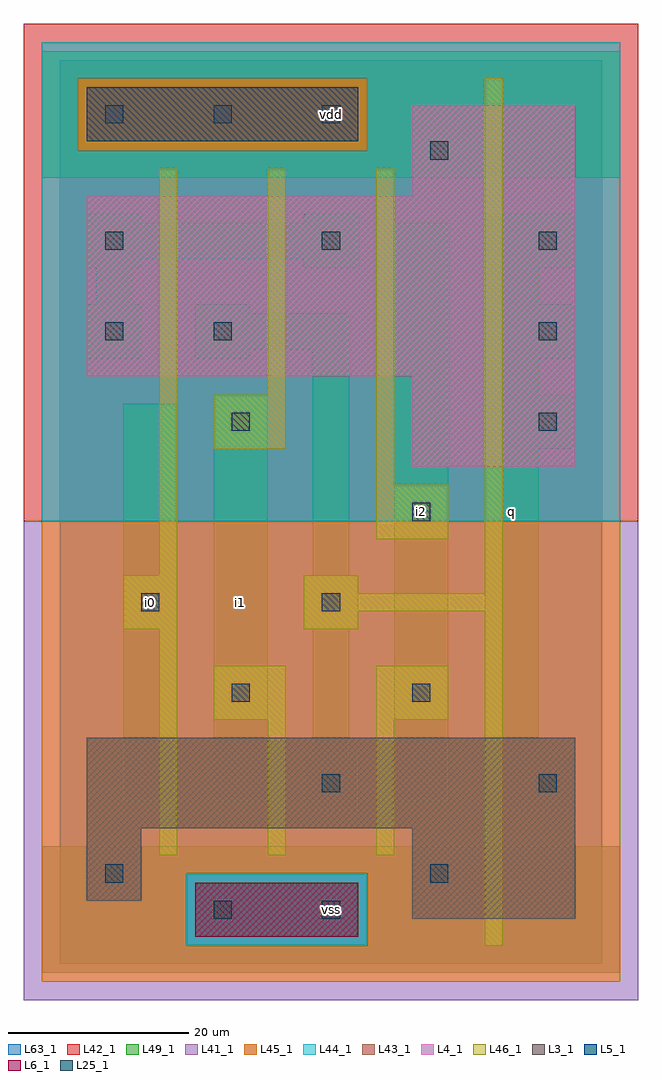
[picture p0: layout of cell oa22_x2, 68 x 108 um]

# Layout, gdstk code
import gdstk
lib = gdstk.Library(unit=1e-6, precision=1e-09)
def R(c, l, rs):  # rectangles x0, y0, x1, y1
    for r in rs: c.add(gdstk.rectangle(r[:2], r[2:], *l))
def A(c, l, x, y, w, h, nx, ny, dx, dy):  # array of equal rectangles
    R(c, l, [(x+i*dx, y+j*dy, x+i*dx+w, y+j*dy+h) for i in range(nx) for j in range(ny)])
L3_1 = (3, 1)
L4_1 = (4, 1)
L5_1 = (5, 1)
L6_1 = (6, 1)
L25_1 = (25, 1)
L41_1 = (41, 1)
L42_1 = (42, 1)
L43_1 = (43, 1)
L44_1 = (44, 1)
L45_1 = (45, 1)
L46_1 = (46, 1)
L49_1 = (49, 1)
L63_1 = (63, 1)

oa22_x2 = lib.new_cell('oa22_x2')
R(oa22_x2, L3_1, [(39,5,57,15), (3,7,9,15), (3,15,57,25)])
R(oa22_x2, L4_1, [(39,55,57,65), (3,65,57,85), (39,85,57,95)])
R(oa22_x2, L5_1, [(3,91,33,97)])
R(oa22_x2, L6_1, [(15,3,33,9)])
A(oa22_x2, L25_1, 5, 79, 2, 2, 3, 1, 24, 0)
A(oa22_x2, L25_1, 5, 93, 2, 2, 3, 1, 12, 0)
R(oa22_x2, L25_1, [(17,5,19,7), (29,5,31,7), (5,9,7,11), (41,9,43,11), (29,19,31,21), (53,19,55,21), (19,29,21,31), (39,29,41,31), (9,39,11,41), (29,39,31,41), (39,49,41,51), (19,59,21,61), (53,59,55,61), (5,69,7,71), (17,69,19,71), (53,69,55,71), (41,89,43,91)])
R(oa22_x2, L41_1, [(-4,-4,64,49)])
R(oa22_x2, L42_1, [(-4,49,64,104)])
R(oa22_x2, L43_1, [(15,3,33,9), (39,5,57,15), (3,7,9,15), (3,15,57,25), (39,55,57,65), (3,65,57,85), (39,85,57,95), (3,91,33,97)])
R(oa22_x2, L44_1, [(14,2,34,10), (-2,49,62,90), (-2,90,2,98), (34,90,62,98), (-2,98,62,102)])
R(oa22_x2, L45_1, [(-2,-2,62,2), (-2,2,14,10), (34,2,62,10), (-2,10,62,49), (2,90,34,98)])
R(oa22_x2, L46_1, [(47,2,49,39), (11,12,13,37), (23,12,25,27), (35,12,37,27), (17,27,25,33), (35,27,43,33), (7,37,13,43), (27,37,33,39), (27,39,49,41), (27,41,33,43), (47,41,49,98), (11,43,13,88), (35,47,43,53), (35,53,37,88), (17,57,25,63), (23,63,25,88)])
A(oa22_x2, L49_1, 47, 57, 10, 6, 1, 3, 0, 10)
R(oa22_x2, L49_1, [(-2,-1,62,13), (27,17,33,23), (47,17,57,23), (7,18,13,62), (17,18,23,63), (37,18,43,82), (28,23,32,37), (47,23,53,57), (27,37,33,43), (28,43,32,68), (47,63,53,67), (3,67,9,73), (15,67,21,68), (15,68,32,72), (15,72,21,73), (4,73,8,77), (47,73,53,77), (3,77,9,78), (27,77,33,78), (3,78,33,82), (3,82,9,83), (27,82,33,83), (-2,87,62,101)])
R(oa22_x2, L63_1, [(0,0,60,100)])
oa22_x2.add(gdstk.Label('i0', (10,40), layer=49, texttype=1))
oa22_x2.add(gdstk.Label('i0', (10,40), layer=49, texttype=1))
oa22_x2.add(gdstk.Label('i1', (20,40), layer=49, texttype=1))
oa22_x2.add(gdstk.Label('i1', (20,40), layer=49, texttype=1))
oa22_x2.add(gdstk.Label('vss', (30,6), layer=49, texttype=1))
oa22_x2.add(gdstk.Label('vss', (30,6), layer=49, texttype=1))
oa22_x2.add(gdstk.Label('i2', (40,50), layer=49, texttype=1))
oa22_x2.add(gdstk.Label('i2', (40,50), layer=49, texttype=1))
oa22_x2.add(gdstk.Label('vdd', (30,94), layer=49, texttype=1))
oa22_x2.add(gdstk.Label('vdd', (30,94), layer=49, texttype=1))
oa22_x2.add(gdstk.Label('q', (50,50), layer=49, texttype=1))
oa22_x2.add(gdstk.Label('q', (50,50), layer=49, texttype=1))

lib.write_gds('oa22_x2.gds')
